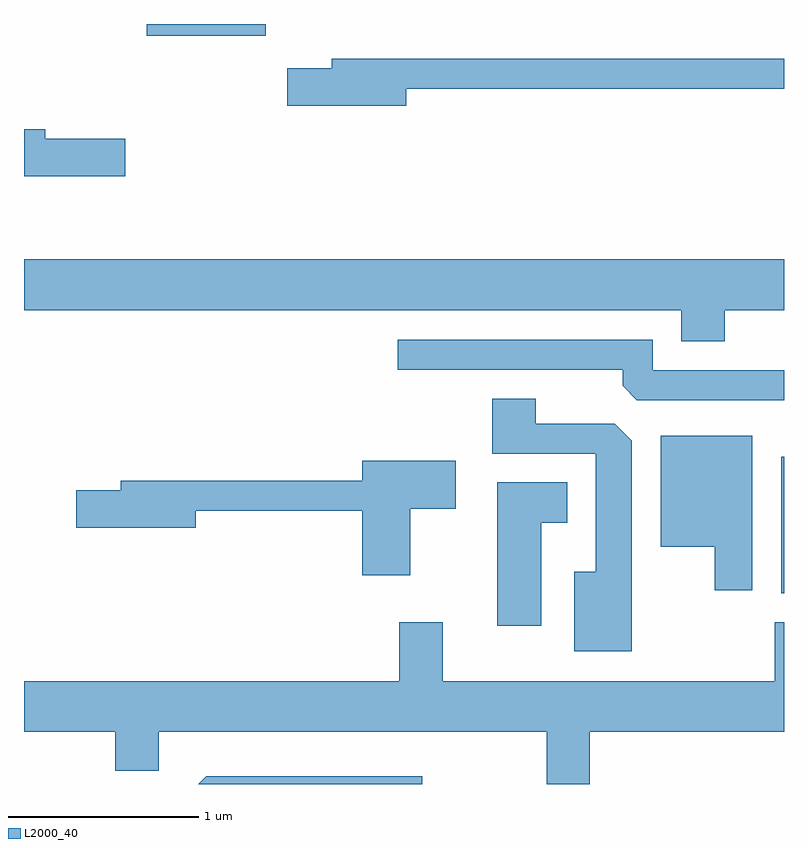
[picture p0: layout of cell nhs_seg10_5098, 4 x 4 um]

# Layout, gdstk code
import gdstk
lib = gdstk.Library(unit=1e-6, precision=1e-09)
def R(c, l, rs):  # rectangles x0, y0, x1, y1
    for r in rs: c.add(gdstk.rectangle(r[:2], r[2:], *l))
def P(c, l, *ps):  # polygons
    for p in ps: c.add(gdstk.Polygon(p, *l))
L2000_40 = (2000, 40)

nhs_seg10_5098 = lib.new_cell('nhs_seg10_5098')
R(nhs_seg10_5098, L2000_40, [(339.596,2123.526,339.611,2124.244), (336.256,2126.461,336.884,2126.522)])
P(nhs_seg10_5098, L2000_40, [(337.624,2126.181),(339.611,2126.181),(339.611,2126.339),(337.231,2126.339),(337.231,2126.289),(336.996,2126.289),(336.996,2126.091),(337.624,2126.091)],
  [(336.144,2125.919),(335.724,2125.919),(335.724,2125.969),(335.611,2125.969),(335.611,2125.721),(336.144,2125.721)],
  [(335.611,2125.016),(339.071,2125.016),(339.071,2124.851),(339.299,2124.851),(339.299,2125.016),(339.611,2125.016),(339.611,2125.284),(335.611,2125.284)],
  [(339.611,2124.699),(338.919,2124.699),(338.919,2124.859),(337.578,2124.859),(337.578,2124.701),(338.761,2124.701),(338.761,2124.617),(338.837,2124.541),(339.611,2124.541)],
  [(338.809,2124.329),(338.719,2124.419),(338.304,2124.419),(338.304,2124.549),(338.076,2124.549),(338.076,2124.261),(338.621,2124.261),(338.621,2123.639),(338.506,2123.639),(338.506,2123.221),(338.809,2123.221)],
  [(339.444,2124.354),(338.961,2124.354),(338.961,2123.771),(339.246,2123.771),(339.246,2123.541),(339.444,2123.541)],
  [(337.644,2123.971),(337.884,2123.971),(337.884,2124.224),(337.391,2124.224),(337.391,2124.119),(336.121,2124.119),(336.121,2124.069),(335.886,2124.069),(335.886,2123.871),(336.514,2123.871),(336.514,2123.961),(337.391,2123.961),(337.391,2123.621),(337.644,2123.621)],
  [(338.334,2123.896),(338.469,2123.896),(338.469,2124.109),(338.101,2124.109),(338.101,2123.356),(338.334,2123.356)],
  [(338.589,2122.796),(339.611,2122.796),(339.611,2123.374),(339.561,2123.374),(339.561,2123.064),(337.814,2123.064),(337.814,2123.374),(337.586,2123.374),(337.586,2123.064),(335.611,2123.064),(335.611,2122.796),(336.091,2122.796),(336.091,2122.591),(336.319,2122.591),(336.319,2122.796),(338.361,2122.796),(338.361,2122.522),(338.589,2122.522)],
  [(337.708,2122.564),(336.569,2122.564),(336.527,2122.522),(337.708,2122.522)])

lib.write_gds('nhs_seg10_5098.gds')
